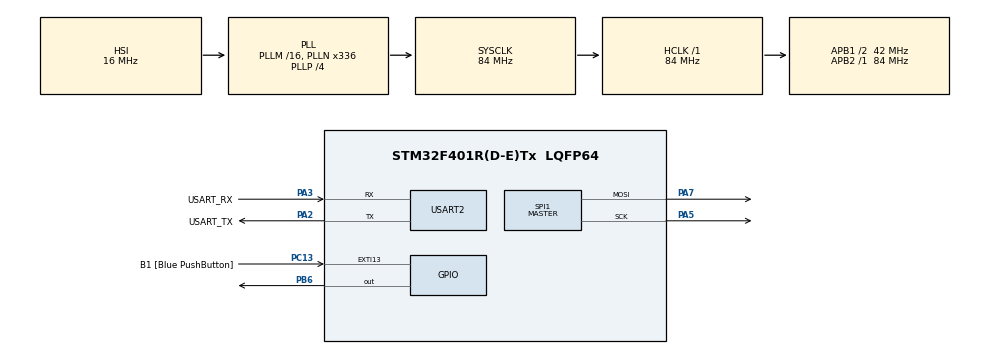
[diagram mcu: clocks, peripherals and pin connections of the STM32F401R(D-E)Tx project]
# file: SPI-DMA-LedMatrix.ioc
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Dma.Request0=SPI1_TX
Dma.SPI1_TX.0.Direction=DMA_MEMORY_TO_PERIPH
Dma.SPI1_TX.0.FIFOMode=DMA_FIFOMODE_DISABLE
Dma.SPI1_TX.0.Instance=DMA2_Stream3
Dma.SPI1_TX.0.MemDataAlignment=DMA_MDATAALIGN_BYTE
Dma.SPI1_TX.0.MemInc=DMA_MINC_ENABLE
Dma.SPI1_TX.0.Mode=DMA_NORMAL
Dma.SPI1_TX.0.PeriphDataAlignment=DMA_PDATAALIGN_BYTE
Dma.SPI1_TX.0.PeriphInc=DMA_PINC_DISABLE
Dma.SPI1_TX.0.Priority=DMA_PRIORITY_LOW
Mcu.Family=STM32F4
Mcu.Name=STM32F401R(D-E)Tx
Mcu.Package=LQFP64
NVIC.DMA2_Stream3_IRQn=true\:0\:0\:false\:false\:true\:false\:true
NVIC.PriorityGroup=NVIC_PRIORITYGROUP_0
NVIC.TIM1_TRG_COM_TIM11_IRQn=true\:0\:0\:false\:false\:true\:true\:true
PA13.GPIO_Label=TMS
PA13.Mode=Serial_Wire
PA13.Signal=SYS_JTMS-SWDIO
PA14.GPIO_Label=TCK
PA14.Mode=Serial_Wire
PA14.Signal=SYS_JTCK-SWCLK
PA2.GPIO_Label=USART_TX
PA2.GPIO_Mode=GPIO_MODE_AF_PP
PA2.GPIO_PuPd=GPIO_NOPULL
PA2.GPIO_Speed=GPIO_SPEED_FREQ_LOW
PA2.Mode=Asynchronous
PA2.Signal=USART2_TX
PA3.GPIO_Label=USART_RX
PA3.GPIO_Mode=GPIO_MODE_AF_PP
PA3.GPIO_PuPd=GPIO_NOPULL
PA3.GPIO_Speed=GPIO_SPEED_FREQ_LOW
PA3.Mode=Asynchronous
PA3.Signal=USART2_RX
PA5.Mode=TX_Only_Simplex_Unidirect_Master
PA5.Signal=SPI1_SCK
PA6.Signal=SPI1_MISO
PA7.Mode=TX_Only_Simplex_Unidirect_Master
PA7.Signal=SPI1_MOSI
PB3.GPIO_Label=SWO
PB3.Signal=SYS_JTDO-SWO
PB6.Signal=GPIO_Output
PC13-ANTI_TAMP.GPIO_Label=B1 [Blue PushButton]
PC13-ANTI_TAMP.GPIO_ModeDefaultEXTI=GPIO_MODE_IT_FALLING
PC13-ANTI_TAMP.GPIO_PuPd=GPIO_NOPULL
PC13-ANTI_TAMP.Signal=GPXTI13
PC14-OSC32_IN.Mode=LSE-External-Oscillator
PC14-OSC32_IN.Signal=RCC_OSC32_IN
PC15-OSC32_OUT.Mode=LSE-External-Oscillator
PC15-OSC32_OUT.Signal=RCC_OSC32_OUT
PH0\ -\ OSC_IN.Mode=HSE-External-Clock-Source
PH0\ -\ OSC_IN.Signal=RCC_OSC_IN
PH1\ -\ OSC_OUT.Mode=HSE-External-Clock-Source
PH1\ -\ OSC_OUT.Signal=RCC_OSC_OUT
ProjectManager.HeapSize=0x200
ProjectManager.StackSize=0x400
ProjectManager.TargetToolchain=STM32CubeIDE
RCC.48MHZClocksFreq_Value=48000000
RCC.AHBFreq_Value=84000000
RCC.APB1CLKDivider=RCC_HCLK_DIV2
RCC.APB1Freq_Value=42000000
RCC.APB1TimFreq_Value=84000000
RCC.APB2Freq_Value=84000000
RCC.APB2TimFreq_Value=84000000
RCC.CortexFreq_Value=84000000
RCC.HCLKFreq_Value=84000000
RCC.HSE_VALUE=8000000
RCC.HSI_VALUE=16000000
RCC.PLLN=336
RCC.PLLP=RCC_PLLP_DIV4
RCC.PLLQ=7
RCC.SYSCLKFreq_VALUE=84000000
RCC.SYSCLKSource=RCC_SYSCLKSOURCE_PLLCLK
RCC.VCOOutputFreq_Value=336000000
SPI1.BaudRatePrescaler=SPI_BAUDRATEPRESCALER_8
SPI1.Direction=SPI_DIRECTION_2LINES
SPI1.Mode=SPI_MODE_MASTER
SPI1.VirtualType=VM_MASTER
TIM11.Period=42000
TIM11.Prescaler=8
USART2.VirtualMode=VM_ASYNC
VP_TIM11_VS_ClockSourceINT.Mode=Enable_Timer
board=NUCLEO-F401RE

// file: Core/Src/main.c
/* USER CODE BEGIN Header */
/**
 ******************************************************************************
 * @file           : main.c
 * @brief          : Main program body
 ******************************************************************************
 * @attention
 *
 * <h2><center>&copy; Copyright (c) 2021 STMicroelectronics.
 * All rights reserved.</center></h2>
 *
 * This software component is licensed by ST under BSD 3-Clause license,
 * the "License"; You may not use this file except in compliance with the
 * License. You may obtain a copy of the License at:
 *                        opensource.org/licenses/BSD-3-Clause
 *
 ******************************************************************************
 */
/* USER CODE END Header */
#include "main.h"

/* USER CODE BEGIN Includes */
#include <math.h>
/* USER CODE END Includes */

/* USER CODE BEGIN PD */
#define N_LETTER 4
/* USER CODE END PD */

SPI_HandleTypeDef hspi1;
DMA_HandleTypeDef hdma_spi1_tx;

TIM_HandleTypeDef htim11;

UART_HandleTypeDef huart2;

/* USER CODE BEGIN PV */
uint8_t iCol = 0;				// index of the column to print
uint8_t iLetter = 0;			// index of the letter to print
uint8_t toShow[N_LETTER][5][2];	// array of letters to print

/* Letters in a easy to draw format */
uint8_t letter_A[5] = { 0b0011111, 0b0100100, 0b1000100, 0b0100100, 0b0011111 };

uint8_t letter_B[5] = { 0b0110110, 0b1001001, 0b1001001, 0b1001001, 0b1111111 };

uint8_t letter_C[5] = { 0b1000001, 0b1000001, 0b1000001, 0b1000001, 0b1111111 };

uint8_t letter_I[5] = { 0b0000000, 0b0000000, 0b1111111, 0b0000000, 0b0000000 };

uint8_t letter_O[5] = { 0b1111111, 0b1000001, 0b1000001, 0b1000001, 0b1111111 };

uint8_t letter_S[5] = { 0b1000110, 0b1001001, 0b1001001, 0b1001001, 0b0110001 };
/* USER CODE END PV */

void SystemClock_Config(void);
static void MX_GPIO_Init(void);
static void MX_USART2_UART_Init(void);
static void MX_SPI1_Init(void);
static void MX_TIM11_Init(void);
static void MX_DMA_Init(void);

/* USER CODE BEGIN 0 */
/**
 * @brief converts a letter in the "easy to draw" format to the format accepted by the led matrix
 * @param x the letter in the easy to draw format
 * @param pos the of the letter to insert in the toShow variable
 */
static void encodeLetterToShow(uint8_t x[5], uint8_t pos) {
	for (int i = 0; i < 5; i++) {
		toShow[pos][i][0] = x[i];
		toShow[pos][i][1] = (uint8_t) pow(2, i);
	}
}
/* USER CODE END 0 */

int main(void) {

	/* MCU Configuration--------------------------------------------------------*/

	/* Reset of all peripherals, Initializes the Flash interface and the Systick. */
	HAL_Init();

	/* Configure the system clock */
	SystemClock_Config();

	/* USER CODE BEGIN SysInit */
	MX_DMA_Init();
	/* USER CODE END SysInit */

	/* Initialize all configured peripherals */
	MX_GPIO_Init();
	MX_USART2_UART_Init();
	MX_SPI1_Init();
	MX_TIM11_Init();
	MX_DMA_Init();
	/* USER CODE BEGIN 2 */

	// inserting letters into the toShow variable
	encodeLetterToShow(letter_C, 0);
	encodeLetterToShow(letter_I, 1);
	encodeLetterToShow(letter_A, 2);
	encodeLetterToShow(letter_O, 3);

	// starting the timer
	HAL_TIM_Base_Start_IT(&htim11);
	/* USER CODE END 2 */

	/* Infinite loop */
	/* USER CODE BEGIN WHILE */
	while (1) {
		HAL_Delay(1000);
		iLetter = (iLetter + 1) % N_LETTER;
		/* USER CODE END WHILE */

	}
}

void SystemClock_Config(void) {
	RCC_OscInitTypeDef RCC_OscInitStruct = { 0 };
	RCC_ClkInitTypeDef RCC_ClkInitStruct = { 0 };

	/** Configure the main internal regulator output voltage
	 */
	__HAL_RCC_PWR_CLK_ENABLE();
	__HAL_PWR_VOLTAGESCALING_CONFIG(PWR_REGULATOR_VOLTAGE_SCALE2);
	/** Initializes the RCC Oscillators according to the specified parameters
	 * in the RCC_OscInitTypeDef structure.
	 */
	RCC_OscInitStruct.OscillatorType = RCC_OSCILLATORTYPE_HSI;
	RCC_OscInitStruct.HSIState = RCC_HSI_ON;
	RCC_OscInitStruct.HSICalibrationValue = RCC_HSICALIBRATION_DEFAULT;
	RCC_OscInitStruct.PLL.PLLState = RCC_PLL_ON;
	RCC_OscInitStruct.PLL.PLLSource = RCC_PLLSOURCE_HSI;
	RCC_OscInitStruct.PLL.PLLM = 16;
	RCC_OscInitStruct.PLL.PLLN = 336;
	RCC_OscInitStruct.PLL.PLLP = RCC_PLLP_DIV4;
	RCC_OscInitStruct.PLL.PLLQ = 7;
	if (HAL_RCC_OscConfig(&RCC_OscInitStruct) != HAL_OK) {
		Error_Handler();
	}
	/** Initializes the CPU, AHB and APB buses clocks
	 */
	RCC_ClkInitStruct.ClockType = RCC_CLOCKTYPE_HCLK | RCC_CLOCKTYPE_SYSCLK
			| RCC_CLOCKTYPE_PCLK1 | RCC_CLOCKTYPE_PCLK2;
	RCC_ClkInitStruct.SYSCLKSource = RCC_SYSCLKSOURCE_PLLCLK;
	RCC_ClkInitStruct.AHBCLKDivider = RCC_SYSCLK_DIV1;
	RCC_ClkInitStruct.APB1CLKDivider = RCC_HCLK_DIV2;
	RCC_ClkInitStruct.APB2CLKDivider = RCC_HCLK_DIV1;

	if (HAL_RCC_ClockConfig(&RCC_ClkInitStruct, FLASH_LATENCY_2) != HAL_OK) {
		Error_Handler();
	}
}

static void MX_SPI1_Init(void) {

	/* SPI1 parameter configuration*/
	hspi1.Instance = SPI1;
	hspi1.Init.Mode = SPI_MODE_MASTER;
	hspi1.Init.Direction = SPI_DIRECTION_2LINES;
	hspi1.Init.DataSize = SPI_DATASIZE_8BIT;
	hspi1.Init.CLKPolarity = SPI_POLARITY_LOW;
	hspi1.Init.CLKPhase = SPI_PHASE_1EDGE;
	hspi1.Init.NSS = SPI_NSS_SOFT;
	hspi1.Init.BaudRatePrescaler = SPI_BAUDRATEPRESCALER_8;
	hspi1.Init.FirstBit = SPI_FIRSTBIT_MSB;
	hspi1.Init.TIMode = SPI_TIMODE_DISABLE;
	hspi1.Init.CRCCalculation = SPI_CRCCALCULATION_DISABLE;
	hspi1.Init.CRCPolynomial = 10;
	if (HAL_SPI_Init(&hspi1) != HAL_OK) {
		Error_Handler();
	}

}

static void MX_TIM11_Init(void) {

	htim11.Instance = TIM11;
	htim11.Init.Prescaler = 8;
	htim11.Init.CounterMode = TIM_COUNTERMODE_UP;
	htim11.Init.Period = 42000;
	htim11.Init.ClockDivision = TIM_CLOCKDIVISION_DIV1;
	htim11.Init.AutoReloadPreload = TIM_AUTORELOAD_PRELOAD_DISABLE;
	if (HAL_TIM_Base_Init(&htim11) != HAL_OK) {
		Error_Handler();
	}

}

static void MX_USART2_UART_Init(void) {

	huart2.Instance = USART2;
	huart2.Init.BaudRate = 115200;
	huart2.Init.WordLength = UART_WORDLENGTH_8B;
	huart2.Init.StopBits = UART_STOPBITS_1;
	huart2.Init.Parity = UART_PARITY_NONE;
	huart2.Init.Mode = UART_MODE_TX_RX;
	huart2.Init.HwFlowCtl = UART_HWCONTROL_NONE;
	huart2.Init.OverSampling = UART_OVERSAMPLING_16;
	if (HAL_UART_Init(&huart2) != HAL_OK) {
		Error_Handler();
	}

}

static void MX_DMA_Init(void) {

	/* DMA controller clock enable */
	__HAL_RCC_DMA2_CLK_ENABLE();

	/* DMA interrupt init */
	/* DMA2_Stream3_IRQn interrupt configuration */
	HAL_NVIC_SetPriority(DMA2_Stream3_IRQn, 0, 0);
	HAL_NVIC_EnableIRQ(DMA2_Stream3_IRQn);

}

static void MX_GPIO_Init(void) {
	GPIO_InitTypeDef GPIO_InitStruct = { 0 };

	/* GPIO Ports Clock Enable */
	__HAL_RCC_GPIOC_CLK_ENABLE();
	__HAL_RCC_GPIOH_CLK_ENABLE();
	__HAL_RCC_GPIOA_CLK_ENABLE();
	__HAL_RCC_GPIOB_CLK_ENABLE();

	/*Configure GPIO pin Output Level */
	HAL_GPIO_WritePin(GPIOB, GPIO_PIN_6, GPIO_PIN_RESET);

	/*Configure GPIO pin : B1_Pin */
	GPIO_InitStruct.Pin = B1_Pin;
	GPIO_InitStruct.Mode = GPIO_MODE_IT_FALLING;
	GPIO_InitStruct.Pull = GPIO_NOPULL;
	HAL_GPIO_Init(B1_GPIO_Port, &GPIO_InitStruct);

	/*Configure GPIO pin : PB6 */
	GPIO_InitStruct.Pin = GPIO_PIN_6;
	GPIO_InitStruct.Mode = GPIO_MODE_OUTPUT_PP;
	GPIO_InitStruct.Pull = GPIO_NOPULL;
	GPIO_InitStruct.Speed = GPIO_SPEED_FREQ_LOW;
	HAL_GPIO_Init(GPIOB, &GPIO_InitStruct);

}

/* USER CODE BEGIN 4 */
/**
 * @brief transmits in DMA format the iCol column of the iLetter letter of toShow
 */
void HAL_TIM_PeriodElapsedCallback(TIM_HandleTypeDef *htim) {
	if (htim == &htim11) {
		HAL_SPI_Transmit_DMA(&hspi1, toShow[iLetter][iCol], 2);
		iCol = (iCol + 1) % 5;
	}
}

void HAL_SPI_TxCpltCallback(SPI_HandleTypeDef *hspi) {
	HAL_GPIO_WritePin(GPIOB, GPIO_PIN_6, GPIO_PIN_SET);
	HAL_GPIO_WritePin(GPIOB, GPIO_PIN_6, GPIO_PIN_RESET);
}
/* USER CODE END 4 */

void Error_Handler(void) {
	__disable_irq();
	while (1) {
	}
}

/************************ (C) COPYRIGHT STMicroelectronics *****END OF FILE****/
